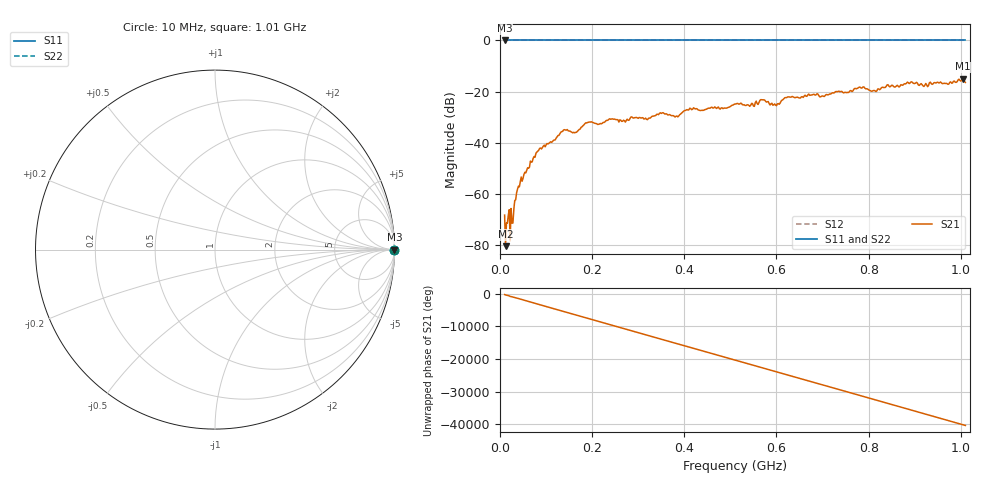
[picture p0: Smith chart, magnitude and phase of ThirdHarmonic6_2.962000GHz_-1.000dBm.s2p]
! 8/17/2025 8:21:45 AM
! C:\ANRITSUVNA\TEMP\TEMP.S2P
! CHANNEL.1
! TR.MEASUREMENT
! RAW.DATA
! RF.CORRECTION.OFF
! AVERAGING.OFF
! IF.BANDWIDTH: 5KHZ
! SWEEPTYPE:  FREQ.SWEEP(Linear)
! Reference Plane Port Info
! PORT:  PORT1  PORT2
! DISTANCE:  0  m  0  m
! TIME:  0  s  0  s
! PHASE.OFFSET:  0  deg.  0  deg.
! LOSS:  0  dB  0  dB
! REF.LOSS:  0  dB  0  dB
! REF.FREQ:  0  Hz  0  Hz
! Power Info
! POWER:  -20  dBm  -20  dBm
! EFF.POWER:  -20  dBm  -20  dBm
! SOURCE.ATTEN:  0  dB  0  dB
! TEST.ATTEN:  0  dB  0  dB
# GHZ S RI R 50.0
! FREQ.GHZ  S11RE  S11IM  S21RE  S21IM  S12RE  S12IM  S22RE  S22IM
!; PortSelection: Port_12
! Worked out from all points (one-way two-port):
!   501 points, 10 MHz to 1.01 GHz, reference 50 ohm
!   highest |S21| = -14.99 dB at 1.004 GHz (marker M1); lowest = -80.6 dB at 12 MHz (marker M2)
!   lowest |S11| = 0.0 dB at 10 MHz (marker M3)
!   |S11| at or under -10 dB: nowhere
!   |S22| runs from 0.0 to 0.0 dB; largest |S21 - S12| = 1.2
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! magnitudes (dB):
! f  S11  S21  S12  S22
! 10 MHz  0.0  -68.4  0.0  0.0
! 12 MHz  0.0  -80.6  0.0  0.0
! 26 MHz  0.0  -71.6  0.0  0.0
! 36 MHz  0.0  -59.7  0.0  0.0
! 42 MHz  0.0  -57.3  0.0  0.0
! 82 MHz  0.0  -43.4  0.0  0.0
! 136 MHz  0.0  -35.6  0.0  0.0
! 162 MHz  0.0  -36.2  0.0  0.0
! 178 MHz  0.0  -33.8  0.0  0.0
! 344 MHz  0.0  -29.0  0.0  0.0
! 384 MHz  0.0  -29.6  0.0  0.0
! 410 MHz  0.0  -27.1  0.0  0.0
! 510 MHz  0.0  -24.9  0.0  0.0
! 548 MHz  0.0  -24.7  0.0  0.0
! 570 MHz  0.0  -23.2  0.0  0.0
! 596 MHz  0.0  -24.9  0.0  0.0
! 622 MHz  0.0  -22.4  0.0  0.0
! 678 MHz  0.0  -21.3  0.0  0.0
! 814 MHz  0.0  -19.7  0.0  0.0
! 844 MHz  0.0  -17.9  0.0  0.0
! 1.004 GHz  0.0  -15.0  0.0  0.0
! 1.01 GHz  0.0  -16.4  0.0  0.0
